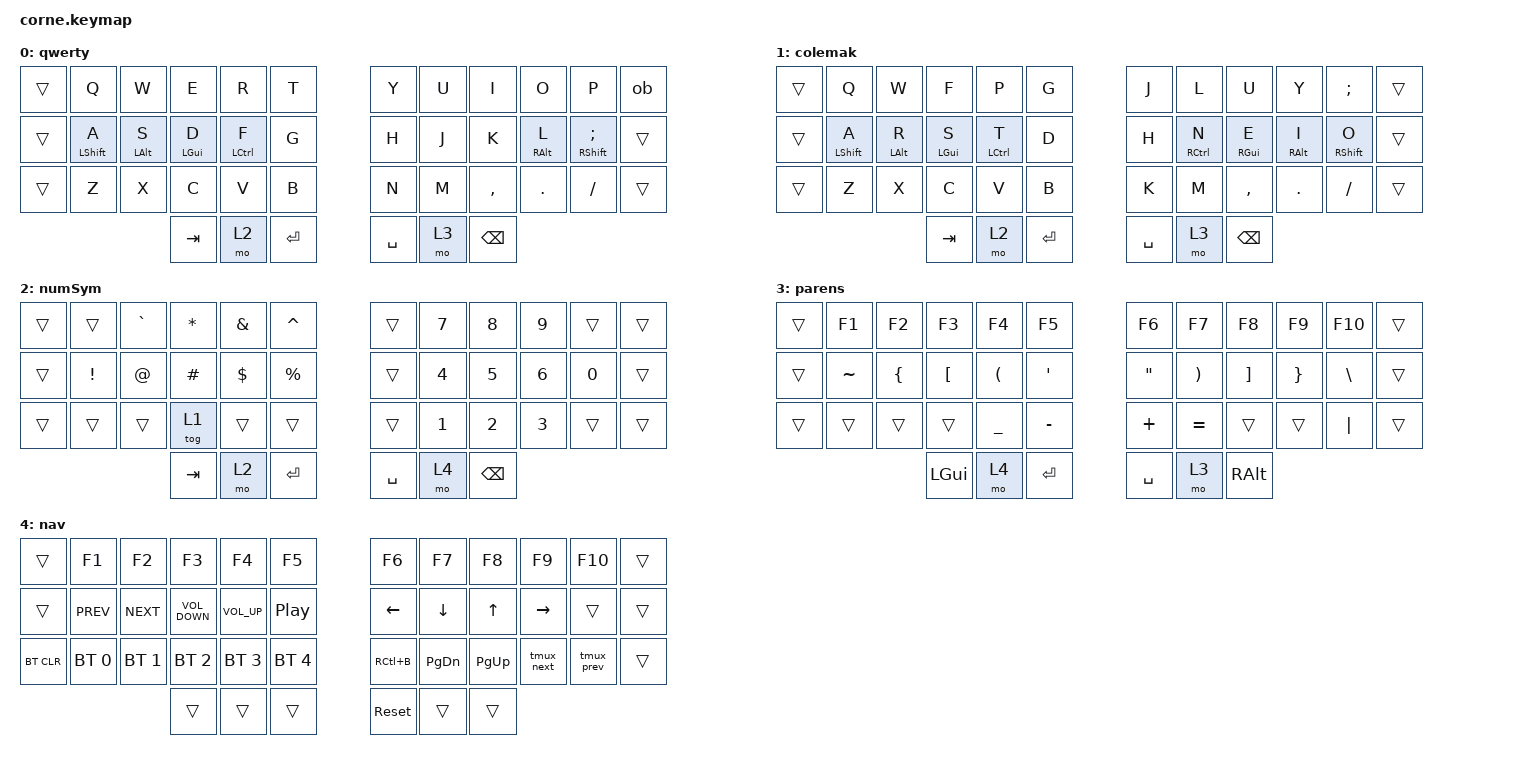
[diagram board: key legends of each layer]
/*
 * Copyright (c) 2020 The ZMK Contributors
 *
 * SPDX-License-Identifier: MIT
 */

#include <behaviors.dtsi>
#include <dt-bindings/zmk/bt.h>
#include <dt-bindings/zmk/keys.h>

&mt {
    tapping-term-ms = <200>;
    flavor = "tap-preferred";
};

/ {
    combos {
        compatible = "zmk,combos";

        escape {
            bindings = <&kp ESCAPE>;
            key-positions = <19 20>;
        };

        escape2 {
            bindings = <&kp ESC>;
            key-positions = <16 15>;
        };
    };

    macros {
        tmux_next: tmux_next {
            compatible = "zmk,behavior-macro";
            #binding-cells = <0>;
            bindings = <&kp LC(B) &kp RIGHT_PARENTHESIS>;
            label = "TMUX_NEXT";
        };

        secretMessage: secretMessage {
            compatible = "zmk,behavior-macro";
            #binding-cells = <0>;
            bindings = <&none &kp LS(H) &kp E &kp L &kp L &kp O &kp SPACE &kp F &kp R &kp O &kp M &kp SPACE &kp M &kp Y &kp SPACE &kp K &kp E &kp Y &kp B &kp O &kp A &kp R &kp D &kp DOT>;
            label = "SECRETMESSAGE";
        };

        ob: ob {
            compatible = "zmk,behavior-macro";
            #binding-cells = <0>;
            bindings = <&none &kp LS(O) &kp W &kp E &kp N &kp SPACE &kp LS(B) &kp E &kp R &kp I &kp N &kp G &kp E &kp R>;
            label = "OB";
        };

        tmux_prev: tmux_prev {
            compatible = "zmk,behavior-macro";
            #binding-cells = <0>;
            bindings = <&kp LC(B) &kp LEFT_PARENTHESIS>;
            label = "TMUX_PREV";
        };
    };

    keymap {
        compatible = "zmk,keymap";

        qwerty {
            // -----------------------------------------------------------------------------------------
            // |  TAB |  Q  |  W  |  E  |  R  |  T  |   |  Y  |  U   |  I  |  O  |  P  | BSPC |
            // | CTRL |  A  |  S  |  D  |  F  |  G  |   |  H  |  J   |  K  |  L  |  ;  |  '   |
            // | SHFT |  Z  |  X  |  C  |  V  |  B  |   |  N  |  M   |  ,  |  .  |  /  | ESC  |
            //                    | GUI | LWR | SPC |   | ENT | RSE  | ALT |

            bindings = <
&trans  &kp Q             &kp W           &kp E           &kp R               &kp T      &kp Y      &kp U  &kp I          &kp O            &kp P                 &ob
&trans  &mt LEFT_SHIFT A  &mt LEFT_ALT S  &mt LEFT_GUI D  &mt LEFT_CONTROL F  &kp G      &kp H      &kp J  &kp K          &mt RIGHT_ALT L  &mt RIGHT_SHIFT SEMI  &trans
&trans  &kp Z             &kp X           &kp C           &kp V               &kp B      &kp N      &kp M  &kp COMMA      &kp DOT          &kp FSLH              &trans
                                          &kp TAB         &mo 2               &kp RET    &kp SPACE  &mo 3  &kp BACKSPACE
            >;
        };

        colemak {
            bindings = <
&trans  &kp Q             &kp W           &kp F           &kp P               &kp G        &kp J      &kp L                &kp U            &kp Y            &kp SEMI           &trans
&trans  &mt LEFT_SHIFT A  &mt LEFT_ALT R  &mt LEFT_GUI S  &mt LEFT_CONTROL T  &kp D        &kp H      &mt RIGHT_CONTROL N  &mt RIGHT_GUI E  &mt RIGHT_ALT I  &mt RIGHT_SHIFT O  &trans
&trans  &kp Z             &kp X           &kp C           &kp V               &kp B        &kp K      &kp M                &kp COMMA        &kp DOT          &kp FSLH           &trans
                                          &kp TAB         &mo 2               &kp ENTER    &kp SPACE  &mo 3                &kp BSPC
            >;
        };

        numSym {
            // -----------------------------------------------------------------------------------------
            // |  TAB |  1  |  2  |  3  |  4  |  5  |   |  6  |  7  |  8  |  9  |  0  | BSPC |
            // | BTCLR| BT1 | BT2 | BT3 | BT4 | BT5 |   | LFT | DWN |  UP | RGT |     |      |
            // | SHFT |     |     |     |     |     |   |     |     |     |     |     |      |
            //                    | GUI |     | SPC |   | ENT |     | ALT |

            bindings = <
&trans  &trans           &kp GRAVE    &kp ASTERISK  &kp AMPERSAND  &kp CARET      &trans     &kp NUMBER_7  &kp NUMBER_8   &kp NUMBER_9  &trans        &trans
&trans  &kp EXCLAMATION  &kp AT_SIGN  &kp HASH      &kp DOLLAR     &kp PERCENT    &trans     &kp NUMBER_4  &kp NUMBER_5   &kp NUMBER_6  &kp NUMBER_0  &trans
&trans  &trans           &trans       &tog 1        &trans         &trans         &trans     &kp NUMBER_1  &kp NUMBER_2   &kp NUMBER_3  &trans        &trans
                                      &kp TAB       &mo 2          &kp RET        &kp SPACE  &mo 4         &kp BACKSPACE
            >;
        };

        parens {
            // -----------------------------------------------------------------------------------------
            // |  TAB |  !  |  @  |  #  |  $  |  %  |   |  ^  |  &  |  *  |  (  |  )  | BSPC |
            // | CTRL |     |     |     |     |     |   |  -  |  =  |  [  |  ]  |  \  |  `   |
            // | SHFT |     |     |     |     |     |   |  _  |  +  |  {  |  }  | "|" |  ~   |
            //                    | GUI |     | SPC |   | ENT |     | ALT |

            bindings = <
&trans  &kp F1     &kp F2          &kp F3            &kp F4                &kp F5       &kp F6             &kp F7                 &kp F8             &kp F9           &kp F10   &trans
&trans  &kp TILDE  &kp LEFT_BRACE  &kp LEFT_BRACKET  &kp LEFT_PARENTHESIS  &kp SQT      &kp DOUBLE_QUOTES  &kp RIGHT_PARENTHESIS  &kp RIGHT_BRACKET  &kp RIGHT_BRACE  &kp BSLH  &trans
&trans  &trans     &trans          &trans            &kp UNDERSCORE        &kp MINUS    &kp PLUS           &kp EQUAL              &trans             &trans           &kp PIPE  &trans
                                   &kp LGUI          &mo 4                 &kp RET      &kp SPACE          &mo 3                  &kp RALT
            >;
        };

        nav {
            bindings = <
&trans      &kp F1        &kp F2        &kp F3             &kp F4           &kp F5              &kp F6      &kp F7         &kp F8       &kp F9      &kp F10     &trans
&trans      &kp C_PREV    &kp C_NEXT    &kp C_VOLUME_DOWN  &kp C_VOLUME_UP  &kp C_PLAY_PAUSE    &kp LEFT    &kp DOWN       &kp UP       &kp RIGHT   &trans      &trans
&bt BT_CLR  &bt BT_SEL 0  &bt BT_SEL 1  &bt BT_SEL 2       &bt BT_SEL 3     &bt BT_SEL 4        &kp RC(B)   &kp PAGE_DOWN  &kp PAGE_UP  &tmux_next  &tmux_prev  &trans
                                        &trans             &trans           &trans              &sys_reset  &trans         &trans
            >;
        };
    };

    conditional_layers { compatible = "zmk,conditional-layers"; };
};
